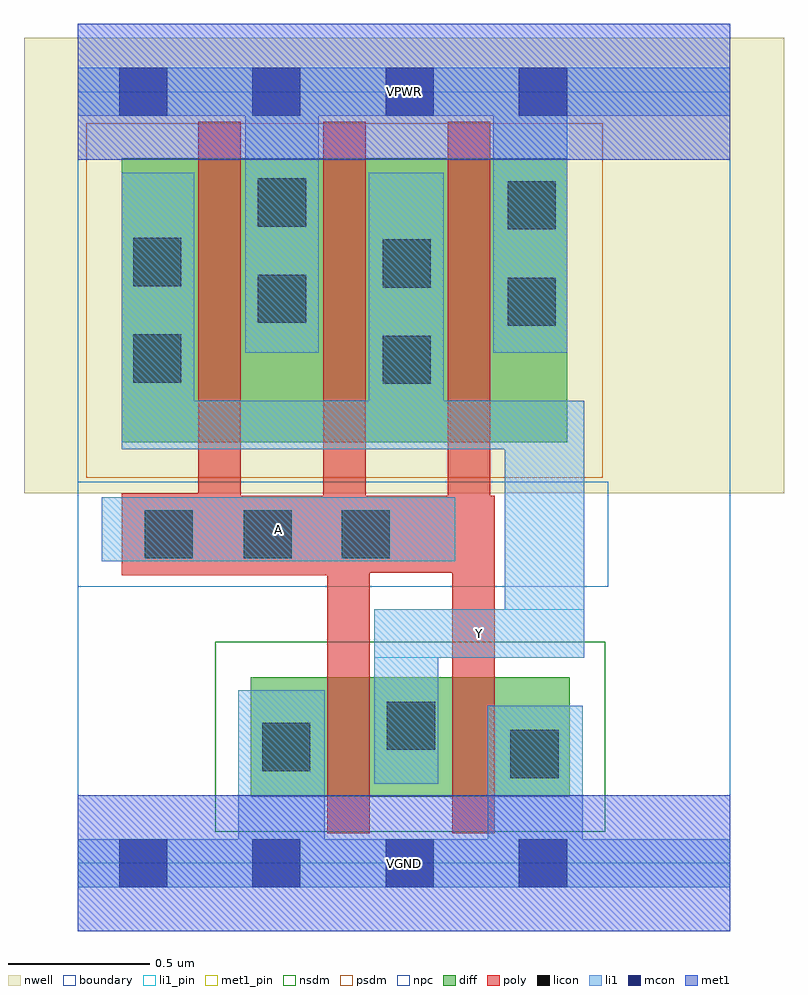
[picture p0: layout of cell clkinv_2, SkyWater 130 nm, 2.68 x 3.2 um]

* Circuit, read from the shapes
.subckt clkinv_2 A VGND VPWR Y
XM1 Y A VGND VSUBS sky130_fd_pr__nfet_01v8 w=0.42 l=0.15 m=2
XM2 VPWR A Y n1 sky130_fd_pr__pfet_01v8 w=1 l=0.15 m=3
.ends

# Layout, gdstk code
import gdstk
lib = gdstk.Library(unit=1e-6, precision=1e-09)
def R(c, l, rs):  # rectangles x0, y0, x1, y1
    for r in rs: c.add(gdstk.rectangle(r[:2], r[2:], *l))
def A(c, l, x, y, w, h, nx, ny, dx, dy):  # array of equal rectangles
    R(c, l, [(x+i*dx, y+j*dy, x+i*dx+w, y+j*dy+h) for i in range(nx) for j in range(ny)])
nwell = (64, 20)
diff = (65, 20)
poly = (66, 20)
licon = (66, 44)
li1_pin = (67, 16)
li1 = (67, 20)
mcon = (67, 44)
met1_pin = (68, 16)
met1 = (68, 20)
nsdm = (93, 44)
psdm = (94, 20)
npc = (95, 20)
boundary = (235, 4)

clkinv_2 = lib.new_cell('clkinv_2')
R(clkinv_2, nwell, [(-0.19,1.305,2.49,2.91), (0,1.305,2.3,2.91)])
R(clkinv_2, diff, [(0.61,0.235,1.735,0.655), (0.155,1.485,1.725,2.485)])
R(clkinv_2, poly, [(0.88,0.105,1.03,1.295), (1.32,0.105,1.47,1.295), (0.155,1.015,1.03,1.295), (0.155,1.015,0.575,1.305), (0.425,1.015,0.575,2.615), (0.865,1.015,1.015,2.615), (0.155,1.025,1.47,1.295), (1.305,1.025,1.455,2.615)])
R(clkinv_2, licon, [(1.525,0.3,1.695,0.47), (0.65,0.325,0.82,0.495), (1.09,0.4,1.26,0.57), (0.235,1.075,0.405,1.245), (0.585,1.075,0.755,1.245), (0.93,1.075,1.1,1.245), (1.075,1.69,1.245,1.86), (0.195,1.695,0.365,1.865), (1.515,1.895,1.685,2.065), (0.635,1.905,0.805,2.075), (1.075,2.03,1.245,2.2), (0.195,2.035,0.365,2.205), (1.515,2.235,1.685,2.405), (0.635,2.245,0.805,2.415)])
R(clkinv_2, li1_pin, [(1.045,0.725,1.785,0.895), (0.085,1.065,1.33,1.29)])
R(clkinv_2, li1, [(0,-0.085,2.3,0.085), (0.565,-0.085,0.87,0.61), (1.445,-0.085,1.78,0.555), (1.045,0.28,1.27,0.895), (1.045,0.725,1.785,0.895), (1.505,0.725,1.785,1.63), (0.085,1.065,1.33,1.29), (0.155,1.46,1.785,1.63), (0.155,1.46,0.41,2.435), (1.025,1.46,1.29,2.435), (0.59,1.8,0.85,2.805), (1.465,1.8,1.725,2.805), (0,2.635,2.3,2.805)])
A(clkinv_2, mcon, 0.145, -0.085, 0.17, 0.17, 4, 2, 0.47, 2.72)
R(clkinv_2, met1_pin, [(0,-0.24,2.3,0.24), (0,2.48,2.3,2.96)])
R(clkinv_2, met1, [(0,-0.24,2.3,0.24), (0,2.48,2.3,2.96)])
R(clkinv_2, nsdm, [(0.485,0.11,1.86,0.78)])
R(clkinv_2, psdm, [(0.03,1.36,1.85,2.61)])
R(clkinv_2, npc, [(0,0.975,1.87,1.345)])
R(clkinv_2, boundary, [(0,0,2.3,2.72)])
clkinv_2.add(gdstk.Label('A', (0.707,1.177), layer=67, texttype=5))
clkinv_2.add(gdstk.Label('Y', (1.415,0.81), layer=67, texttype=5))
clkinv_2.add(gdstk.Label('VPWR', (1.15,2.72), layer=68, texttype=5))
clkinv_2.add(gdstk.Label('VGND', (1.15,0), layer=68, texttype=5))
clkinv_2.add(gdstk.Label('A', (0.707,1.177), layer=67, texttype=16))
clkinv_2.add(gdstk.Label('Y', (1.415,0.81), layer=67, texttype=16))
clkinv_2.add(gdstk.Label('VPWR', (1.15,2.72), layer=68, texttype=16))
clkinv_2.add(gdstk.Label('VGND', (1.15,0), layer=68, texttype=16))

lib.write_gds('clkinv_2.gds')
